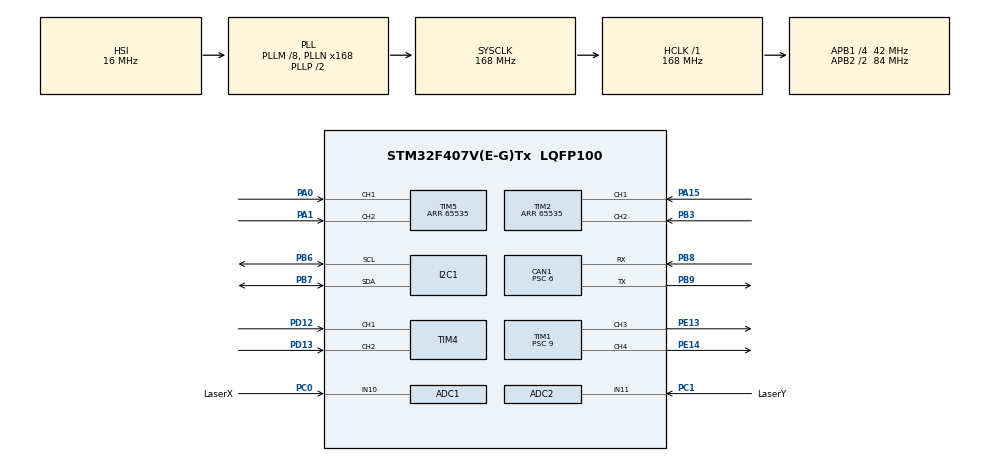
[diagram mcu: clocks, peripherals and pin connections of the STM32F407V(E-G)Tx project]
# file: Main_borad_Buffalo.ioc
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ADC1.Channel-0\#ChannelRegularConversion=ADC_CHANNEL_10
ADC1.ContinuousConvMode=ENABLE
ADC1.NbrOfConversionFlag=1
ADC1.Rank-0\#ChannelRegularConversion=1
ADC1.SamplingTime-0\#ChannelRegularConversion=ADC_SAMPLETIME_15CYCLES
ADC1.master=1
ADC2.Channel-0\#ChannelRegularConversion=ADC_CHANNEL_11
ADC2.ContinuousConvMode=ENABLE
ADC2.NbrOfConversionFlag=1
ADC2.Rank-0\#ChannelRegularConversion=1
ADC2.SamplingTime-0\#ChannelRegularConversion=ADC_SAMPLETIME_15CYCLES
CAN1.BS1=CAN_BS1_4TQ
CAN1.BS2=CAN_BS2_2TQ
CAN1.CalculateBaudRate=1000000
CAN1.CalculateTimeBit=1000
CAN1.CalculateTimeQuantum=142.85714285714286
CAN1.Prescaler=6
Dma.ADC1.0.Direction=DMA_PERIPH_TO_MEMORY
Dma.ADC1.0.FIFOMode=DMA_FIFOMODE_DISABLE
Dma.ADC1.0.Instance=DMA2_Stream0
Dma.ADC1.0.MemDataAlignment=DMA_MDATAALIGN_HALFWORD
Dma.ADC1.0.MemInc=DMA_MINC_ENABLE
Dma.ADC1.0.Mode=DMA_NORMAL
Dma.ADC1.0.PeriphDataAlignment=DMA_PDATAALIGN_HALFWORD
Dma.ADC1.0.PeriphInc=DMA_PINC_DISABLE
Dma.ADC1.0.Priority=DMA_PRIORITY_LOW
Dma.ADC2.1.Direction=DMA_PERIPH_TO_MEMORY
Dma.ADC2.1.FIFOMode=DMA_FIFOMODE_DISABLE
Dma.ADC2.1.Instance=DMA2_Stream2
Dma.ADC2.1.MemDataAlignment=DMA_MDATAALIGN_HALFWORD
Dma.ADC2.1.MemInc=DMA_MINC_ENABLE
Dma.ADC2.1.Mode=DMA_NORMAL
Dma.ADC2.1.PeriphDataAlignment=DMA_PDATAALIGN_HALFWORD
Dma.ADC2.1.PeriphInc=DMA_PINC_DISABLE
Dma.ADC2.1.Priority=DMA_PRIORITY_LOW
Dma.Request0=ADC1
Dma.Request1=ADC2
I2C1.I2C_Mode=I2C_Fast
Mcu.Family=STM32F4
Mcu.Name=STM32F407V(E-G)Tx
Mcu.Package=LQFP100
NVIC.CAN1_RX0_IRQn=true\:0\:0\:false\:false\:true\:true\:true\:true
NVIC.DMA2_Stream0_IRQn=true\:0\:0\:false\:false\:true\:false\:true\:true
NVIC.DMA2_Stream2_IRQn=true\:0\:0\:false\:false\:true\:false\:true\:true
NVIC.PriorityGroup=NVIC_PRIORITYGROUP_4
NVIC.TIM1_BRK_TIM9_IRQn=true\:0\:0\:false\:false\:true\:true\:true\:true
NVIC.TIM3_IRQn=true\:0\:0\:false\:false\:true\:true\:true\:true
NVIC.TIM8_BRK_TIM12_IRQn=true\:0\:0\:false\:false\:true\:true\:true\:true
PA0-WKUP.Signal=S_TIM5_CH1
PA1.Signal=S_TIM5_CH2
PA13.Mode=Serial_Wire
PA13.Signal=SYS_JTMS-SWDIO
PA14.Mode=Serial_Wire
PA14.Signal=SYS_JTCK-SWCLK
PA15.Signal=S_TIM2_CH1_ETR
PB3.Signal=S_TIM2_CH2
PB6.Mode=I2C
PB6.Signal=I2C1_SCL
PB7.Mode=I2C
PB7.Signal=I2C1_SDA
PB8.Mode=CAN_Activate
PB8.Signal=CAN1_RX
PB9.Mode=CAN_Activate
PB9.Signal=CAN1_TX
PC0.GPIO_Label=LaserX
PC0.Signal=ADCx_IN10
PC1.GPIO_Label=LaserY
PC1.Signal=ADCx_IN11
PD12.Signal=S_TIM4_CH1
PD13.Signal=S_TIM4_CH2
PE13.Signal=S_TIM1_CH3
PE14.Signal=S_TIM1_CH4
PH0-OSC_IN.Mode=HSE-External-Oscillator
PH0-OSC_IN.Signal=RCC_OSC_IN
PH1-OSC_OUT.Mode=HSE-External-Oscillator
PH1-OSC_OUT.Signal=RCC_OSC_OUT
ProjectManager.HeapSize=0x200
ProjectManager.StackSize=0x400
ProjectManager.TargetToolchain=STM32CubeIDE
RCC.48MHZClocksFreq_Value=84000000
RCC.AHBFreq_Value=168000000
RCC.APB1CLKDivider=RCC_HCLK_DIV4
RCC.APB1Freq_Value=42000000
RCC.APB1TimFreq_Value=84000000
RCC.APB2CLKDivider=RCC_HCLK_DIV2
RCC.APB2Freq_Value=84000000
RCC.APB2TimFreq_Value=168000000
RCC.CortexFreq_Value=168000000
RCC.HCLKFreq_Value=168000000
RCC.HSE_VALUE=25000000
RCC.HSI_VALUE=16000000
RCC.LSE_VALUE=32768
RCC.PLLM=8
RCC.PLLN=168
RCC.SYSCLKFreq_VALUE=168000000
RCC.SYSCLKSource=RCC_SYSCLKSOURCE_PLLCLK
RCC.VCOOutputFreq_Value=336000000
SH.ADCx_IN10.0=ADC1_IN10,IN10
SH.ADCx_IN11.0=ADC2_IN11,IN11
SH.S_TIM1_CH3.0=TIM1_CH3,PWM Generation3 CH3
SH.S_TIM1_CH4.0=TIM1_CH4,PWM Generation4 CH4
SH.S_TIM2_CH1_ETR.0=TIM2_CH1,Encoder_Interface
SH.S_TIM2_CH2.0=TIM2_CH2,Encoder_Interface
SH.S_TIM4_CH1.0=TIM4_CH1,Encoder_Interface
SH.S_TIM4_CH2.0=TIM4_CH2,Encoder_Interface
SH.S_TIM5_CH1.0=TIM5_CH1,Encoder_Interface
SH.S_TIM5_CH2.0=TIM5_CH2,Encoder_Interface
STMicroelectronics.X-CUBE-ALGOBUILD.1.3.0.LibraryCcDSPOoLibraryJjDSPOoLibrary=true
TIM1.AutoReloadPreload=TIM_AUTORELOAD_PRELOAD_ENABLE
TIM1.Channel-PWM\ Generation3\ CH3=TIM_CHANNEL_3
TIM1.Channel-PWM\ Generation4\ CH4=TIM_CHANNEL_4
TIM1.Period=999
TIM1.Prescaler=9
TIM12.AutoReloadPreload=TIM_AUTORELOAD_PRELOAD_ENABLE
TIM12.Period=9999
TIM12.Prescaler=83
TIM2.AutoReloadPreload=TIM_AUTORELOAD_PRELOAD_ENABLE
TIM2.EncoderMode=TIM_ENCODERMODE_TI12
TIM2.Period=65535
TIM3.AutoReloadPreload=TIM_AUTORELOAD_PRELOAD_ENABLE
TIM3.Period=9999
TIM3.Prescaler=83
TIM4.AutoReloadPreload=TIM_AUTORELOAD_PRELOAD_ENABLE
TIM4.EncoderMode=TIM_ENCODERMODE_TI12
TIM5.AutoReloadPreload=TIM_AUTORELOAD_PRELOAD_ENABLE
TIM5.EncoderMode=TIM_ENCODERMODE_TI12
TIM5.Period=65535
VP_STMicroelectronics.X-CUBE-ALGOBUILD_VS_DSPOoLibraryJjLibrary_1.3.0_1.3.0.Mode=DSPOoLibraryJjLibrary
VP_TIM12_VS_ClockSourceINT.Mode=Internal
VP_TIM3_VS_ClockSourceINT.Mode=Internal
board=custom

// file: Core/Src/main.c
/* USER CODE BEGIN Header */
/**
  ******************************************************************************
  * @file           : main.c
  * @brief          : Main program body
  ******************************************************************************
  * @attention
  *
  * Copyright (c) 2024 STMicroelectronics.
  * All rights reserved.
  *
  * This software is licensed under terms that can be found in the LICENSE file
  * in the root directory of this software component.
  * If no LICENSE file comes with this software, it is provided AS-IS.
  *
  ******************************************************************************
  */
/* USER CODE END Header */
#include "main.h"
#include "adc.h"
#include "can.h"
#include "dma.h"
#include "i2c.h"
#include "tim.h"
#include "gpio.h"

/* USER CODE BEGIN Includes */
#include"bno055.h"
#include"bno055_stm32.h"
#include "math.h"

/* USER CODE END Includes */

/* USER CODE BEGIN PTD */
CAN_RxHeaderTypeDef RxHeader;
CAN_TxHeaderTypeDef TxHeader;

typedef struct{
	uint32_t counter;
	uint32_t new_counter;
	uint8_t counter_status;
	float speed;
	float rdps;
	double distant;
}Encoder;

Encoder encoderXR;
Encoder encoderXL;
Encoder encoderY;
bno055_vector_t Q;
typedef struct {
	double Roll;
	double Pitch;
	double Yaw;
}Rotation;
Rotation Angle;

/* USER CODE END PTD */

/* USER CODE BEGIN PD */
#define b 0.5
#define Ly 0.2
#define PI 3.14159
#define r 0.03 //[Radius m]
#define CPR_XR 800
#define CPR_XL 800
#define CPR_Y 1400
#define C   2*PI*r //[circumference  C=2*Pi*R]
#define sampling_time  10 //[10ms]
#define sampleTime  0.01
#define dt 0.01
#define RotaryXR 0
#define RotaryXL 1
#define RotaryY 2
//Wheel
#define R 0.05
#define lx 0.165  //m
#define ly 0.225  //m
#define d1 0.05
#define d2 0.15
#define X 0
#define Y 1
#define YAW 2
#define alpha 0.8

/* USER CODE END PD */

/* USER CODE BEGIN PV */
float Vx;
float Vy;
float Omega;
float vy;

//Variable of Calculate Position Robot from Rotary encoder wheel
extern float rdps[3];
float output_Vx;
float output_Vy;
float output_Omega;
float WR;
float WL;
float WY;
float V;
float Omega;

float Vx_enR;
float Vy_enR;
float Vy_enR1;
float Vy_enR2;
float X_old_enR;
float Y_old_enR;
float Yaw_old_IMU;
float yaw_old_enR;
float X_enR;
float Y_enR;
float yaw_enR;
float wheel_velocity_encoder[3];
float P_enR[3];
float old_count[3];
uint16_t count[3]; // count pulse from encoder
uint16_t new_count[3];
uint8_t count_state[3];
uint16_t diff[3]; // difference between count and new_count in a sample time
float SpeedR[3];
float rdps[3];
double position;

// IMU
double siny_cosp;
double cosy_cosp;
double angle; // Angle in degrees
double radians;
float theta;
float phi;
//----------CAN----------------//
uint8_t TxData[8];
uint32_t TxMailbox;
uint16_t rotaryX = 0;
uint16_t rotaryY = 0;
uint16_t imu = 0;
uint16_t laser = 0;
uint16_t j;

uint8_t RxData[8];
//uint8_t TxData[8];
//uint32_t TxMailbox;
float RxData1 = 0;
float RxData2 = 0;
float RxData3 = 0;
float RxData4 = 0;
float V1 = 0; // target speed of motor1
float V2 = 0; // target speed of motor2
float V3 = 0; // target speed of motor1
float V4 = 0; // target speed of motor2

uint8_t datacheck = 0;
uint8_t cntt;
float V_back;
float V1_back;
float V2_back;
float V3_back;
float V4_back;

//NRF
int c;
//Varible to read Encoder
float v;
uint8_t nowA[4];
uint8_t nowB[4];
uint8_t lastA[4];
uint8_t lastB[4];
uint8_t dir[4];
uint16_t cnt[4];
uint16_t Enc_count[4];
volatile int32_t encoder_position = 0;
volatile uint32_t last_time = 0;
volatile float omega = 0.0;
uint16_t pwm_putball1;
uint16_t pwm_putball2;
float speed_shooter1;
float speed_shooter2;

// DATA to sensor
float thetaR = 0.0;
float thetaL = 0.0;
float thetaY = 0.0;

// Laser
extern float laserx;
extern float lasery;
float distance;
uint16_t LaserX;
uint8_t LaserY;
uint8_t state;
uint8_t ball_aready;
int jj;
/* USER CODE END PV */

void SystemClock_Config(void);
/* USER CODE BEGIN PFP */
float map(float Input, float Min_Input , float Max_Input ,float Min_Output, float Max_Output){

	return (float) ((Input - Min_Input) * (Max_Output - Min_Output) / (Max_Input - Min_Input) + Min_Output);
}

void HAL_CAN_RxFifo0MsgPendingCallback(CAN_HandleTypeDef *hcan) {
	HAL_CAN_GetRxMessage(hcan, CAN_RX_FIFO0, &RxHeader, RxData);
	cntt++;
	while (cntt - 100 > 0) {
		//HAL_GPIO_TogglePin(GPIOC, GPIO_PIN_13);
		cntt = 0;
	}

	if (RxHeader.StdId == 0x111) {
//			distance = map(RxData[0], 0, 255, 0.0, 20.0);
			RxData1 = (RxData[0] << 8) | RxData[1];
			distance = map(RxData1, 0, 65535, 0.0, 100.0);
	}
	else if (RxHeader.StdId == 0x222) {
			state = RxData[0];
	}
	else if (RxHeader.StdId == 0x409)
	{
		ball_aready = RxData[0];
	}
}
void read_encoder(Encoder *enc, TIM_HandleTypeDef* timer,uint16_t cpr){
	enc->new_counter = __HAL_TIM_GET_COUNTER(timer);
	enc->counter_status = __HAL_TIM_IS_TIM_COUNTING_DOWN(timer);
	int16_t count_change = enc->new_counter - enc->counter;
	if(enc->counter_status && count_change <0){
		count_change += 65536;
	}else if (!enc->counter_status && count_change > 0){
		count_change -= 65536;
	}
	enc->counter = enc->new_counter;
	enc->counter_status = (count_change >=0);
	enc->speed = (float)count_change*1000.0f/(cpr * sampling_time);
	enc->rdps = (float)count_change*2*PI*1000.0f/(cpr * sampling_time);
}

//float encoder(int i) {
//	if (nowA[i] != lastA[i]) {
//		lastA[i] = nowA[i];
//		if (lastA[i] == 0) {
//			if (nowB[i] == 0) {
//				dir[i] = 0;
//				cnt[i]--;
//			} else {
//				dir[i] = 1;
//				cnt[i]++;
//			}
//		} else {
//			if (nowB[i] == 1) {
//				dir[i] = 0;
//				cnt[i]--;
//			} else {
//				dir[i] = 1;
//				cnt[i]++;
//			}
//		}
//	}
//	if (nowB[i] != lastB[i]) {
//		lastB[i] = nowB[i];
//		if (lastB[i] == 0) {
//			if (nowA[i] == 1) {
//				dir[i] = 0;
//				cnt[i]--;
//			} else {
//				dir[i] = 1;
//				cnt[i]++;
//			}
//		} else {
//			if (nowA[i] == 0) {
//				dir[i] = 0;
//				cnt[i]--;
//			} else {
//				dir[i] = 1;
//				cnt[i]++;
//			}
//		}
//	}
//	return cnt[i];
//}
//float Rotary_RPS( int j,float SampleTime, float N_round)
//{
//	new_count[RotaryXR] = Enc_count[0];
//	new_count[RotaryXL] = Enc_count[1];
//	new_count[RotaryY] = Enc_count[2];
//
//	count_state[RotaryXR] = !dir[0];
//	count_state[RotaryXL] = !dir[1];
//	count_state[RotaryY] = !dir[2];
//
//	if (count_state[j])
//	{
//		if (new_count[j] <= count[j])
//		{ // Check for counter underflow
//			diff[j] = count[j] - new_count[j];
//		}
//		else
//		{
//			diff[j] = (65536 - new_count[j]) + count[j];
//		}
//		SpeedR[j] = (float)diff[j] * 1000.0f / (N_round * SampleTime)*-1;
//	}
//	else
//	{
//		if (new_count[j] >= count[j])
//		{ // Check for counter overflow
//			diff[j] = new_count[j] - count[j];
//		}
//		else
//		{
//			diff[j] = (65536 - count[j]) + new_count[j];
//		}
//		SpeedR[j] = (float)diff[j] * 1000.0f / (N_round * SampleTime);
//	}
//
//	rdps[j] = -2.0f * PI * SpeedR[j];
//	count[j] = new_count[j];
//
//	return rdps[j];
//}
/* USER CODE END PFP */

int main(void)
{

  /* MCU Configuration--------------------------------------------------------*/

  /* Reset of all peripherals, Initializes the Flash interface and the Systick. */
  HAL_Init();

  /* Configure the system clock */
  SystemClock_Config();

  /* Initialize all configured peripherals */
  MX_GPIO_Init();
  MX_DMA_Init();
  MX_CAN1_Init();
  MX_I2C1_Init();
  MX_TIM3_Init();
  MX_TIM1_Init();
  MX_ADC1_Init();
  MX_TIM2_Init();
  MX_TIM4_Init();
  MX_TIM5_Init();
  MX_ADC2_Init();
  MX_TIM12_Init();
  /* USER CODE BEGIN 2 */
  // CAN _Transmition
	HAL_CAN_Start(&hcan1);
	HAL_CAN_ActivateNotification(&hcan1, CAN_IT_RX_FIFO0_MSG_PENDING);
	TxHeader.DLC = 8; // data length
	TxHeader.IDE = CAN_ID_STD;
	TxHeader.RTR = CAN_RTR_DATA;
	TxHeader.StdId = 0x407; //Id 0x7FF

	// TIMER Internal clock
	HAL_TIM_PWM_Start(&htim1, TIM_CHANNEL_3);
	HAL_TIM_PWM_Start(&htim1, TIM_CHANNEL_4);
	HAL_TIM_Base_Start_IT(&htim3);
	HAL_TIM_Base_Start_IT(&htim12);
	//*** SENSOR FEEDBACK ***//
	// IMU
	bno055_assignI2C(&hi2c1);
	bno055_setup();
	bno055_setOperationModeNDOF();

	// Read Rotary encoder
	HAL_TIM_Encoder_Start(&htim5, TIM_CHANNEL_ALL);
	HAL_TIM_Encoder_Start(&htim2, TIM_CHANNEL_ALL);
	HAL_TIM_Encoder_Start(&htim4, TIM_CHANNEL_ALL);

	// IRFilter
//	IIRFilter_Init(&IR, alpha);

  /* USER CODE END 2 */

  /* Infinite loop */
  while (1)
  {

  }
}

void SystemClock_Config(void)
{
  RCC_OscInitTypeDef RCC_OscInitStruct = {0};
  RCC_ClkInitTypeDef RCC_ClkInitStruct = {0};

  /** Configure the main internal regulator output voltage
  */
  __HAL_RCC_PWR_CLK_ENABLE();
  __HAL_PWR_VOLTAGESCALING_CONFIG(PWR_REGULATOR_VOLTAGE_SCALE1);

  /** Initializes the RCC Oscillators according to the specified parameters
  * in the RCC_OscInitTypeDef structure.
  */
  RCC_OscInitStruct.OscillatorType = RCC_OSCILLATORTYPE_HSI;
  RCC_OscInitStruct.HSIState = RCC_HSI_ON;
  RCC_OscInitStruct.HSICalibrationValue = RCC_HSICALIBRATION_DEFAULT;
  RCC_OscInitStruct.PLL.PLLState = RCC_PLL_ON;
  RCC_OscInitStruct.PLL.PLLSource = RCC_PLLSOURCE_HSI;
  RCC_OscInitStruct.PLL.PLLM = 8;
  RCC_OscInitStruct.PLL.PLLN = 168;
  RCC_OscInitStruct.PLL.PLLP = RCC_PLLP_DIV2;
  RCC_OscInitStruct.PLL.PLLQ = 4;
  if (HAL_RCC_OscConfig(&RCC_OscInitStruct) != HAL_OK)
  {
    Error_Handler();
  }

  /** Initializes the CPU, AHB and APB buses clocks
  */
  RCC_ClkInitStruct.ClockType = RCC_CLOCKTYPE_HCLK|RCC_CLOCKTYPE_SYSCLK
                              |RCC_CLOCKTYPE_PCLK1|RCC_CLOCKTYPE_PCLK2;
  RCC_ClkInitStruct.SYSCLKSource = RCC_SYSCLKSOURCE_PLLCLK;
  RCC_ClkInitStruct.AHBCLKDivider = RCC_SYSCLK_DIV1;
  RCC_ClkInitStruct.APB1CLKDivider = RCC_HCLK_DIV4;
  RCC_ClkInitStruct.APB2CLKDivider = RCC_HCLK_DIV2;

  if (HAL_RCC_ClockConfig(&RCC_ClkInitStruct, FLASH_LATENCY_5) != HAL_OK)
  {
    Error_Handler();
  }
}

/* USER CODE BEGIN 4 */
void HAL_TIM_PeriodElapsedCallback(TIM_HandleTypeDef *htim)
{
	if (htim->Instance == TIM3) {
		read_encoder(&encoderXR, &htim5, CPR_XR);
		read_encoder(&encoderXL, &htim4, CPR_XL);
		read_encoder(&encoderY, &htim2, CPR_Y);

		WL = (double) encoderXR.rdps * r;
		WR = (double) encoderXL.rdps * r;
		WY = (double) encoderY.rdps * r;
		V = (WR + WL) / 2;
		Omega = (WR - WL) / b;
//		vy = WY - Omega * Ly;
//				phi = phi + Omega * dt;
//				  	  		if (phi > 2*PI || phi <-2*PI)
//				  	  		{
//				  	  			phi = 0.0;
//				  	  		}
//				  	  		if (phi >= PI)
//				  	  		{
//				  	  			phi -= 2*PI;
//				  	  		}
//				  	  		else if (phi <= -PI)
//				  	  		{
//				  	  			phi += 2*PI;
//				  	  		}
//				  	  	theta = phi;
		rotaryX = map(V, -100.0, 100.0, 0, 65535);
		rotaryY = map(WY, -100.0, 100.0, 0, 65535);
		imu = map(theta, -3.14159, 3.14159, 0, 65535);
		TxData[0] = ((rotaryX & 0xFF00) >> 8);
		TxData[1] = (rotaryX & 0x00FF);
		TxData[2] = ((rotaryY & 0xFF00) >> 8);
		TxData[3] = (rotaryY & 0x00FF);
		TxData[4] = ((imu & 0xFF00) >> 8);
		TxData[5] = (imu & 0x00FF);
		HAL_CAN_AddTxMessage(&hcan1, &TxHeader, TxData, &TxMailbox);
		c++;

	}
	if (htim->Instance == TIM12) {

		//**** Position From Rotary encoder and IMU   *****//
		Q = bno055_getVectorQuaternion();
		// yaw (z-axis rotation)
		siny_cosp = 2 * (Q.w * Q.z + Q.x * Q.y);
		cosy_cosp = 1 - 2 * (Q.y * Q.y + Q.z * Q.z);
		Angle.Yaw = atan2(siny_cosp, cosy_cosp);
		theta = Angle.Yaw; // radians]

		if ((distance <= 0.35 && distance > 0.02) && ball_aready == 0
				&& state == 5) {
			TIM1->CCR4 = 0;
			TIM1->CCR3 = 1000;
		} else if ((ball_aready == 1 || state > 5 || (distance > 0.35 && state == 5))) {
			TIM1->CCR4 = 600;
			TIM1->CCR3 = 0;
		} else {
			TIM1->CCR4 = 0;
			TIM1->CCR3 = 0;
		}

		jj++;

	}
}
/* USER CODE END 4 */

void Error_Handler(void)
{
  __disable_irq();
  while (1)
  {
  }
}
